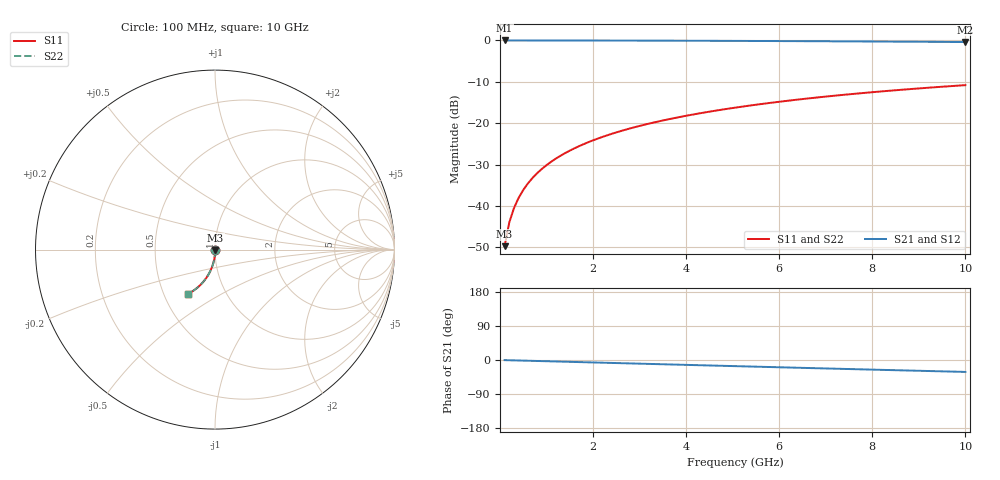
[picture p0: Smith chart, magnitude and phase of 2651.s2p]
# Hz S RI R 50.00
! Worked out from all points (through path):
!   100 points, 100 MHz to 10 GHz, reference 50 ohm
!   highest |S21| = -0.01 dB at 100 MHz (marker M1); lowest = -0.4 dB at 10 GHz (marker M2)
!   group delay of S21, straight-line fit = 8.75 ps
!   lowest |S11| = -49.7 dB at 100 MHz (marker M3), VSWR 1.01, Z = 50.1 - j0.312 ohm
!   |S11| at or under -10 dB: start of sweep to end of sweep
!   |S22| runs from -49.7 to -10.8 dB; largest |S21 - S12| = 0
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1e8  0.000963 -0.00311  0.999 -0.00563  0.999 -0.00563  0.000963 -0.00311
2e8  0.000913 -0.00622  0.9989 -0.0112  0.9989 -0.0112  0.000913 -0.00622
3e8  0.000826 -0.00933  0.9988 -0.0169  0.9988 -0.0169  0.000826 -0.00933
4e8  0.000703 -0.0124  0.9987 -0.0225  0.9987 -0.0225  0.000703 -0.0124
5e8  0.000545 -0.0155  0.9985 -0.0281  0.9985 -0.0281  0.000545 -0.0155
6e8  0.000352 -0.0187  0.9982 -0.0337  0.9982 -0.0337  0.000352 -0.0187
7e8  0.000123 -0.0218  0.9979 -0.0394  0.9979 -0.0394  0.000123 -0.0218
8e8  -0.000141 -0.0249  0.9976 -0.045  0.9976 -0.045  -0.000141 -0.0249
9e8  -0.000439 -0.028  0.9973 -0.0506  0.9973 -0.0506  -0.000439 -0.028
1.1e9  -0.00114 -0.0341  0.9964 -0.0618  0.9964 -0.0618  -0.00114 -0.0341
1.4e9  -0.00245 -0.0434  0.9949 -0.0786  0.9949 -0.0786  -0.00245 -0.0434
1.8e9  -0.00469 -0.0556  0.9922 -0.1008  0.9922 -0.1008  -0.00469 -0.0556
2.1e9  -0.00672 -0.0647  0.9898 -0.1175  0.9898 -0.1175  -0.00672 -0.0647
2.5e9  -0.0099 -0.0767  0.986 -0.1395  0.986 -0.1395  -0.0099 -0.0767
2.9e9  -0.0136 -0.0885  0.9816 -0.1614  0.9816 -0.1614  -0.0136 -0.0885
3.4e9  -0.019 -0.103  0.9752 -0.1885  0.9752 -0.1885  -0.019 -0.103
4.2e9  -0.0292 -0.1254  0.9631 -0.2311  0.9631 -0.2311  -0.0292 -0.1254
5.1e9  -0.0429 -0.1492  0.9467 -0.2777  0.9467 -0.2777  -0.0429 -0.1492
5.9e9  -0.0569 -0.1691  0.9298 -0.3177  0.9298 -0.3177  -0.0569 -0.1691
6.7e9  -0.0725 -0.1875  0.9109 -0.3564  0.9109 -0.3564  -0.0725 -0.1875
8.4e9  -0.11 -0.2214  0.8649 -0.4334  0.8649 -0.4334  -0.11 -0.2214
1e10  -0.1496 -0.2461  0.8155 -0.4988  0.8155 -0.4988  -0.1496 -0.2461
